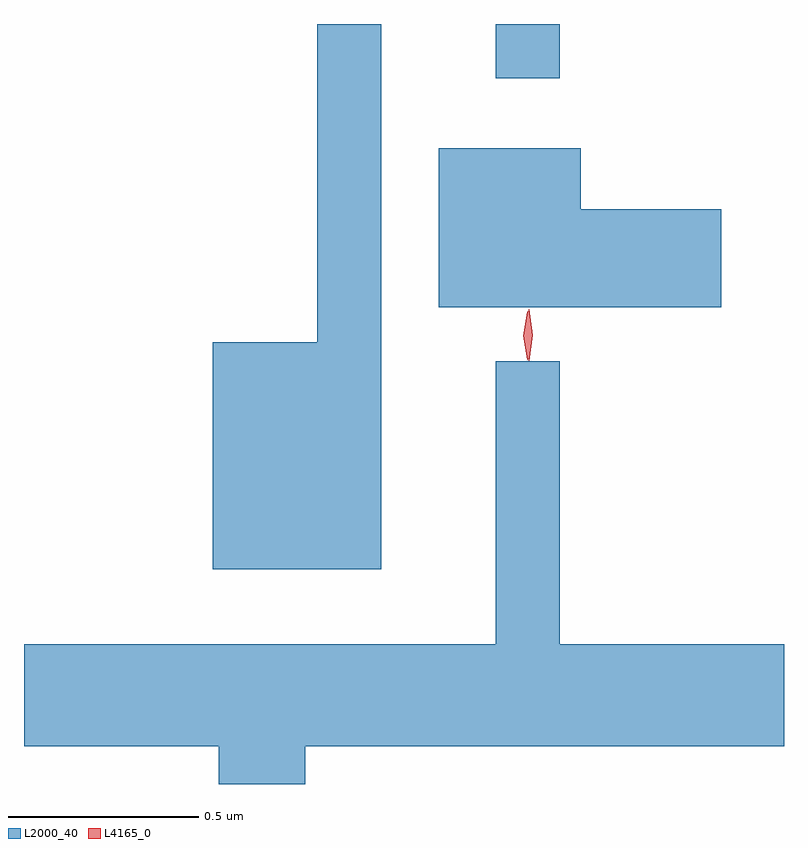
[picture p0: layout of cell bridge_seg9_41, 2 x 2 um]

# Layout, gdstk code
import gdstk
lib = gdstk.Library(unit=1e-6, precision=1e-09)
def R(c, l, rs):  # rectangles x0, y0, x1, y1
    for r in rs: c.add(gdstk.rectangle(r[:2], r[2:], *l))
def P(c, l, *ps):  # polygons
    for p in ps: c.add(gdstk.Polygon(p, *l))
L2000_40 = (2000, 40)
L4165_0 = (4165, 0)

bridge_seg9_41 = lib.new_cell('bridge_seg9_41')
R(bridge_seg9_41, L2000_40, [(1506.941,2013.553,1507.109,2013.696)])
P(bridge_seg9_41, L2000_40, [(1506.639,2013.696),(1506.471,2013.696),(1506.471,2012.859),(1506.196,2012.859),(1506.196,2012.261),(1506.639,2012.261)],
  [(1507.534,2013.209),(1507.164,2013.209),(1507.164,2013.369),(1506.791,2013.369),(1506.791,2012.951),(1507.534,2012.951)],
  [(1506.439,2011.796),(1507.699,2011.796),(1507.699,2012.064),(1507.109,2012.064),(1507.109,2012.808),(1506.941,2012.808),(1506.941,2012.064),(1505.699,2012.064),(1505.699,2011.796),(1506.211,2011.796),(1506.211,2011.696),(1506.439,2011.696)])
P(bridge_seg9_41, L4165_0, [(1507.023,2012.813),(1507.023,2012.813),(1507.013,2012.876),(1507.023,2012.939),(1507.023,2012.939),(1507.024,2012.939),(1507.033,2012.876),(1507.024,2012.813)],
  [(1507.027,2012.81),(1507.018,2012.877),(1507.027,2012.945),(1507.028,2012.945),(1507.028,2012.945),(1507.038,2012.877),(1507.028,2012.81),(1507.028,2012.81)])

lib.write_gds('bridge_seg9_41.gds')
